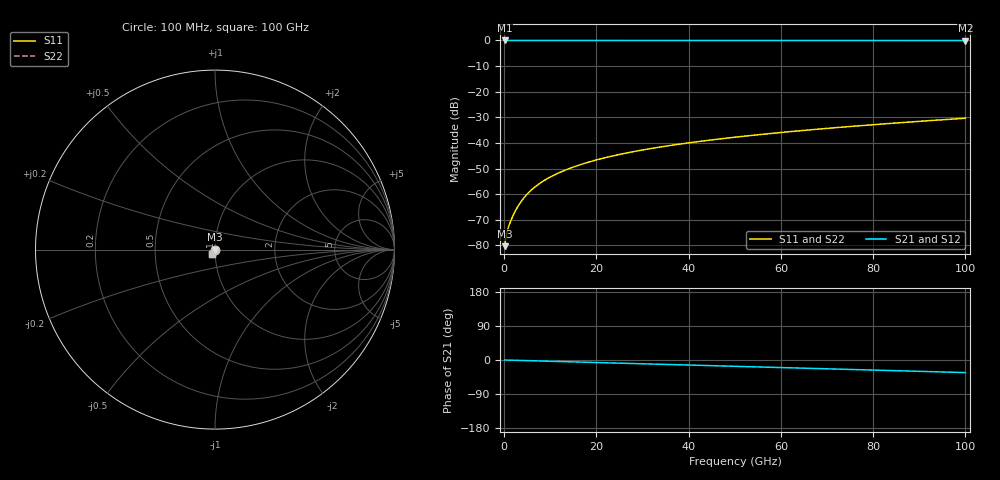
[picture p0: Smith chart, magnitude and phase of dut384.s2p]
! Touchstone file exported from HFSS 2026.1.0
!  File:  C:/ffzhzh/LocalFiles/Ansys_Project_Files/temp_train_TSV_384_1783510575_31944.aedt
!  Generated:  07:37:27 PM Jul  8, 2026
!  Design:  TSV
!  Project:  temp_train_TSV_384_1783510575_31944
! Variables:
!  h_bsmrdl = 2um
!  h_ox = 20um
!  h_rdl = 5um
!  h_sub = 65.06um
!  h_tmrdl = 5um
!  h_tsv = 65.06um
!  h_via = 3um
!  l_bsmrdl = 300um
!  l_sub = 422.08um
!  l_tmrdl = 200um
!  m_sub = 200um
!  pitch = 42.46um
!  r_tsv = 11.04um
!  s_tmrdl = 10um
!  w_bsmrdl = 18um
!  w_sub = 500um
!  w_tmrdl = 12um
!  x_tsv_center1 = 206um
!  x_tsv_center2 = 524um
!  x_tsv_center3 = 736um
!  x_tsv_center4 = 1054um
!  x_tsv_center5 = 1266um
!  x_tsv_center6 = 1584um
# GHz S MA R 50.000000
! Terminal data exported
! Port[1] = TSV1_1_T1
! Port[2] = TSV1_1_T2
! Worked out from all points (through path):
!   1000 points, 100 MHz to 100 GHz, reference 50 ohm
!   highest |S21| = 0.00 dB at 100 MHz (marker M1); lowest = 0.0 dB at 100 GHz (marker M2)
!   group delay of S21, straight-line fit = 921 fs
!   lowest |S11| = -80.3 dB at 100 MHz (marker M3), VSWR 1.00, Z = 50 + j0.00135 ohm
!   |S11| at or under -10 dB: start of sweep to end of sweep
!   |S22| runs from -80.3 to -30.4 dB; largest |S21 - S12| = 2.7e-15
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0.1  9.662e-05 8.0  0.9999 -0.0  0.9999 -0.0  9.662e-05 8.0
! Gamma 0 0 0 0
! Port Impedance 50 0 50 0
0.4  0.0001449 10.4  0.9999 -0.1  0.9999 -0.1  0.0001449 10.4
0.8  0.0002082 -5.2  0.9998 -0.3  0.9998 -0.3  0.0002082 -5.2
1.1  0.0002513 -15.7  0.9998 -0.4  0.9998 -0.4  0.0002513 -15.7
1.6  0.0003267 -28.6  0.9997 -0.5  0.9997 -0.5  0.0003267 -28.6
2.2  0.0004284 -38.9  0.9997 -0.7  0.9997 -0.7  0.0004284 -38.9
2.9  0.0005605 -47.1  0.9996 -1.0  0.9996 -1.0  0.0005605 -47.1
3.6  0.0007027 -53.0  0.9996 -1.2  0.9996 -1.2  0.0007027 -53.0
4.4  0.0008729 -58.0  0.9995 -1.5  0.9995 -1.5  0.0008729 -58.0
5.3  0.001071 -62.2  0.9995 -1.8  0.9995 -1.8  0.001071 -62.2
7.4  0.001547 -68.8  0.9994 -2.5  0.9994 -2.5  0.001547 -68.8
10  0.002165 -73.6  0.9993 -3.3  0.9993 -3.3  0.002166 -73.6
13.1  0.00291 -77.4  0.9991 -4.4  0.9991 -4.4  0.00291 -77.3
16.8  0.003834 -80.9  0.999 -5.6  0.999 -5.6  0.003835 -80.9
20.2  0.004705 -83.7  0.9989 -6.7  0.9989 -6.7  0.004705 -83.7
24.1  0.005721 -86.5  0.9988 -8.0  0.9988 -8.0  0.005721 -86.4
33.4  0.008208 -91.9  0.9986 -11.1  0.9986 -11.1  0.008209 -91.8
41.1  0.01035 -95.6  0.9984 -13.6  0.9984 -13.6  0.01035 -95.5
50.1  0.01295 -99.4  0.9982 -16.6  0.9982 -16.6  0.01295 -99.4
66.7  0.01813 -105.9  0.9979 -22.1  0.9979 -22.1  0.01813 -105.9
83.4  0.02392 -112.4  0.9975 -27.7  0.9975 -27.7  0.02392 -112.4
100  0.03034 -119.4  0.997 -33.2  0.997 -33.2  0.03034 -119.3
